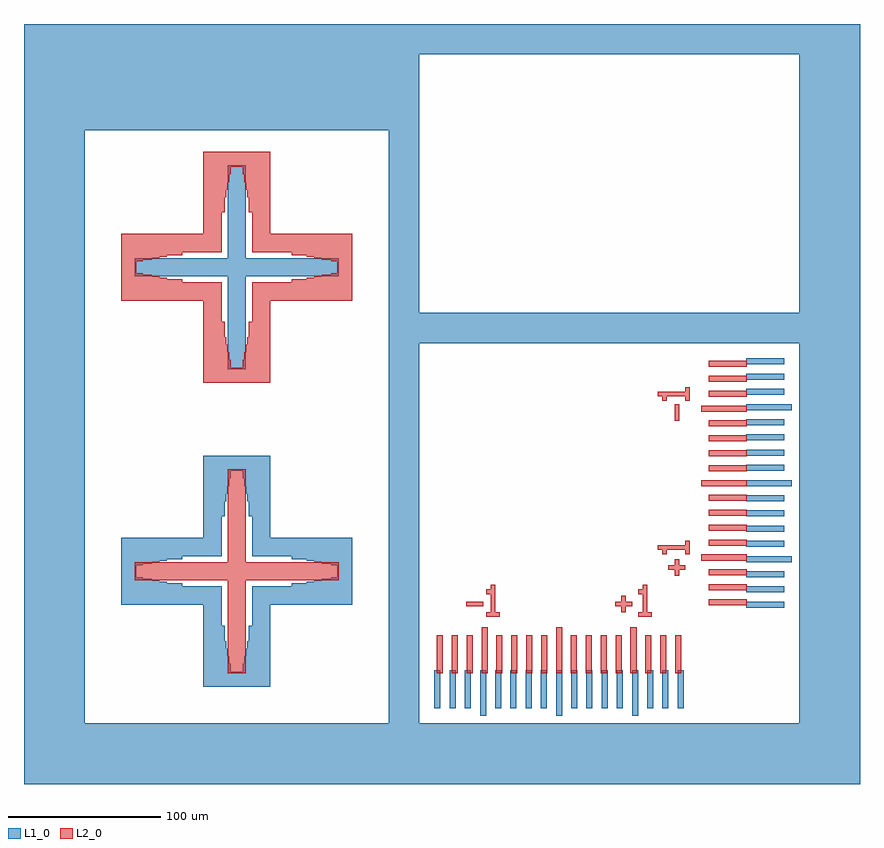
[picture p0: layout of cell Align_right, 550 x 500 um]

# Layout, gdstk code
import gdstk
lib = gdstk.Library(unit=1e-6, precision=1e-08)
def R(c, l, rs):  # rectangles x0, y0, x1, y1
    for r in rs: c.add(gdstk.rectangle(r[:2], r[2:], *l))
def A(c, l, x, y, w, h, nx, ny, dx, dy):  # array of equal rectangles
    R(c, l, [(x+i*dx, y+j*dy, x+i*dx+w, y+j*dy+h) for i in range(nx) for j in range(ny)])
def P(c, l, *ps):  # polygons
    for p in ps: c.add(gdstk.Polygon(p, *l))
L1_0 = (1, 0)
L2_0 = (2, 0)

align_right = lib.new_cell('Align_right')
A(align_right, L1_0, 25, -205, 4, 30, 3, 1, 50, 0)
A(align_right, L1_0, -5, -200, 4, 25, 3, 1, 10, 0)
A(align_right, L1_0, 35, -200, 4, 25, 4, 1, 10, 0)
A(align_right, L1_0, 85, -200, 4, 25, 4, 1, 10, 0)
A(align_right, L1_0, 135, -200, 4, 25, 3, 1, 10, 0)
A(align_right, L1_0, 200, -134, 25, 4, 1, 3, 0, 10)
A(align_right, L1_0, 200, -104, 30, 4, 1, 3, 0, 50)
A(align_right, L1_0, 200, -94, 25, 4, 1, 4, 0, 10)
A(align_right, L1_0, 200, -44, 25, 4, 1, 4, 0, 10)
A(align_right, L1_0, 200, 6, 25, 4, 1, 3, 0, 10)
R(align_right, L1_0, [(-141,23,-129,157), (-202,84,-68,96)])
P(align_right, L1_0, [(-275,-250),(-275,250),(-35,250),(-35,180),(-235,180),(-235,-210),(-35,-210),(-35,250),(235,250),(235,230),(-15,230),(-15,60),(235,60),(235,40),(-15,40),(-15,-210),(235,-210),(235,250),(275,250),(275,-250)],
  [(-135,-186),(-135,-176),(-131,-176),(-131,-171),(-130,-171),(-130,-166),(-129,-166),(-129,-161),(-128,-161),(-128,-156),(-127,-156),(-127,-146),(-125,-146),(-125,-120),(-99,-120),(-99,-118),(-89,-118),(-89,-117),(-84,-117),(-84,-116),(-79,-116),(-79,-115),(-73,-115),(-73,-114),(-69,-114),(-69,-110),(-59,-110),(-59,-132),(-113,-132),(-113,-186)],
  [(-69,-110),(-69,-106),(-73,-106),(-73,-105),(-79,-105),(-79,-104),(-84,-104),(-84,-103),(-89,-103),(-89,-102),(-99,-102),(-99,-100),(-125,-100),(-125,-74),(-127,-74),(-127,-64),(-128,-64),(-128,-59),(-129,-59),(-129,-54),(-130,-54),(-130,-49),(-131,-49),(-131,-44),(-135,-44),(-135,-34),(-113,-34),(-113,-88),(-59,-88),(-59,-110)],
  [(-211,-110),(-211,-88),(-157,-88),(-157,-34),(-135,-34),(-135,-44),(-139,-44),(-139,-49),(-140,-49),(-140,-54),(-141,-54),(-141,-59),(-142,-59),(-142,-64),(-143,-64),(-143,-74),(-145,-74),(-145,-100),(-171,-100),(-171,-102),(-181,-102),(-181,-103),(-186,-103),(-186,-104),(-191,-104),(-191,-105),(-197,-105),(-197,-106),(-201,-106),(-201,-110)],
  [(-157,-186),(-157,-132),(-211,-132),(-211,-110),(-201,-110),(-201,-114),(-197,-114),(-197,-115),(-191,-115),(-191,-116),(-186,-116),(-186,-117),(-181,-117),(-181,-118),(-171,-118),(-171,-120),(-145,-120),(-145,-146),(-143,-146),(-143,-156),(-142,-156),(-142,-161),(-141,-161),(-141,-166),(-140,-166),(-140,-171),(-139,-171),(-139,-176),(-135,-176),(-135,-186)])
A(align_right, L2_0, -3.4, -177, 4, 25, 3, 1, 9.8, 0)
A(align_right, L2_0, 26, -177, 4, 30, 3, 1, 49, 0)
A(align_right, L2_0, 35.8, -177, 4, 25, 4, 1, 9.8, 0)
A(align_right, L2_0, 84.8, -177, 4, 25, 4, 1, 9.8, 0)
A(align_right, L2_0, 133.8, -177, 4, 25, 3, 1, 9.8, 0)
A(align_right, L2_0, 175.4, -132.4, 25, 4, 1, 3, 0, 9.8)
A(align_right, L2_0, 170.4, -103, 30, 4, 1, 3, 0, 49)
A(align_right, L2_0, 175.4, -93.2, 25, 4, 1, 4, 0, 9.8)
A(align_right, L2_0, 175.4, -44.2, 25, 4, 1, 4, 0, 9.8)
A(align_right, L2_0, 175.4, 4.8, 25, 4, 1, 3, 0, 9.8)
R(align_right, L2_0, [(16,-133,27,-130), (153,-11,156,0)])
P(align_right, L2_0, [(145,2),(145,5),(142,5),(142,8),(160,8),(160,11),(163,11),(163,2),(160,2),(160,5),(148,5),(148,2)],
  [(-141,-177),(-141,-116),(-202,-116),(-202,-104),(-141,-104),(-141,-43),(-129,-43),(-129,-104),(-68,-104),(-68,-116),(-129,-116),(-129,-177)],
  [(-157,14),(-157,68),(-211,68),(-211,112),(-157,112),(-157,156),(-139,156),(-139,151),(-140,151),(-140,146),(-141,146),(-141,141),(-142,141),(-142,136),(-143,136),(-143,126),(-145,126),(-145,100),(-171,100),(-171,98),(-181,98),(-181,97),(-186,97),(-186,96),(-191,96),(-191,95),(-197,95),(-197,94),(-201,94),(-201,86),(-197,86),(-197,85),(-191,85),(-191,84),(-186,84),(-186,83),(-181,83),(-181,82),(-171,82),(-171,80),(-145,80),(-145,54),(-143,54),(-143,44),(-142,44),(-142,39),(-141,39),(-141,34),(-140,34),(-140,29),(-139,29),(-139,24),(-131,24),(-131,29),(-130,29),(-130,34),(-129,34),(-129,39),(-128,39),(-128,44),(-127,44),(-127,54),(-125,54),(-125,80),(-99,80),(-99,82),(-89,82),(-89,83),(-84,83),(-84,84),(-79,84),(-79,85),(-73,85),(-73,86),(-69,86),(-69,94),(-73,94),(-73,95),(-79,95),(-79,96),(-84,96),(-84,97),(-89,97),(-89,98),(-99,98),(-99,100),(-125,100),(-125,126),(-127,126),(-127,136),(-128,136),(-128,141),(-129,141),(-129,146),(-130,146),(-130,151),(-131,151),(-131,156),(-157,156),(-157,166),(-113,166),(-113,112),(-59,112),(-59,68),(-113,68),(-113,14)],
  [(129,-140),(129,-137),(132,-137),(132,-125),(129,-125),(129,-122),(132,-122),(132,-119),(135,-119),(135,-137),(138,-137),(138,-140)],
  [(29,-140),(29,-137),(32,-137),(32,-125),(29,-125),(29,-122),(32,-122),(32,-119),(35,-119),(35,-137),(38,-137),(38,-140)],
  [(118,-137),(118,-133),(114,-133),(114,-130),(118,-130),(118,-126),(121,-126),(121,-130),(125,-130),(125,-133),(121,-133),(121,-137)],
  [(153,-113),(153,-109),(149,-109),(149,-106),(153,-106),(153,-102),(156,-102),(156,-106),(160,-106),(160,-109),(156,-109),(156,-113)],
  [(145,-99),(145,-96),(142,-96),(142,-93),(160,-93),(160,-90),(163,-90),(163,-99),(160,-99),(160,-96),(148,-96),(148,-99)])

lib.write_gds('Align_right.gds')
